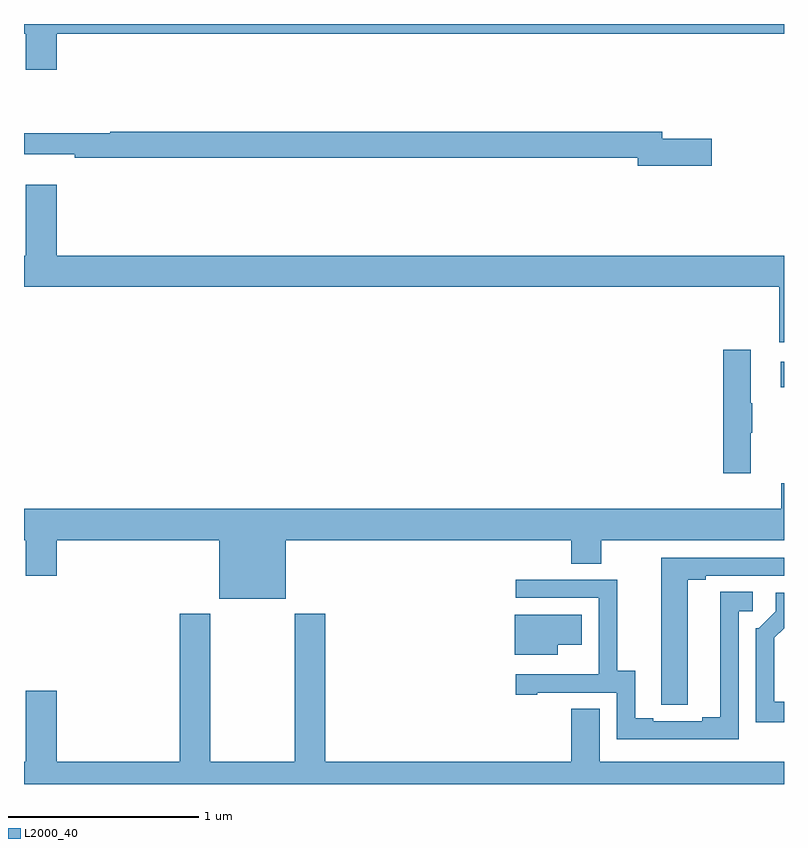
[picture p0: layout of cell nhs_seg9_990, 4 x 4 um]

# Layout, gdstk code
import gdstk
lib = gdstk.Library(unit=1e-6, precision=1e-09)
def R(c, l, rs):  # rectangles x0, y0, x1, y1
    for r in rs: c.add(gdstk.rectangle(r[:2], r[2:], *l))
def P(c, l, *ps):  # polygons
    for p in ps: c.add(gdstk.Polygon(p, *l))
L2000_40 = (2000, 40)

nhs_seg9_990 = lib.new_cell('nhs_seg9_990')
R(nhs_seg9_990, L2000_40, [(168.984,1166.588,169,1166.722)])
P(nhs_seg9_990, L2000_40, [(165.172,1168.448),(169,1168.448),(169,1168.5),(165,1168.5),(165,1168.448),(165.008,1168.448),(165.008,1168.26),(165.172,1168.26)],
  [(168.619,1167.896),(168.358,1167.896),(168.358,1167.932),(165.454,1167.932),(165.454,1167.925),(165,1167.925),(165,1167.815),(165.268,1167.815),(165.268,1167.796),(168.23,1167.796),(168.23,1167.754),(168.619,1167.754)],
  [(169,1167.28),(165.172,1167.28),(165.172,1167.655),(165.008,1167.655),(165.008,1167.28),(165,1167.28),(165,1167.116),(168.974,1167.116),(168.974,1166.826),(169,1166.826)],
  [(168.826,1166.348),(168.834,1166.348),(168.834,1166.504),(168.826,1166.504),(168.826,1166.785),(168.68,1166.785),(168.68,1166.136),(168.826,1166.136)],
  [(166.378,1165.784),(167.879,1165.784),(167.879,1165.66),(168.039,1165.66),(168.039,1165.784),(169,1165.784),(169,1166.082),(168.985,1166.082),(168.985,1165.948),(165,1165.948),(165,1165.784),(165.008,1165.784),(165.008,1165.596),(165.172,1165.596),(165.172,1165.784),(166.028,1165.784),(166.028,1165.475),(166.378,1165.475)],
  [(168.493,1165.576),(168.589,1165.576),(168.589,1165.596),(169,1165.596),(169,1165.692),(168.353,1165.692),(168.353,1165.024),(168.354,1165.024),(168.354,1164.916),(168.493,1164.916)],
  [(168.762,1165.41),(168.835,1165.41),(168.835,1165.511),(168.665,1165.511),(168.665,1164.851),(168.569,1164.851),(168.569,1164.831),(168.313,1164.831),(168.313,1164.846),(168.217,1164.846),(168.217,1165.097),(168.123,1165.097),(168.123,1165.575),(167.589,1165.575),(167.589,1165.479),(168.024,1165.479),(168.024,1165.078),(168.023,1165.078),(168.023,1165.077),(167.589,1165.077),(167.589,1164.969),(167.701,1164.969),(167.701,1164.981),(168.12,1164.981),(168.12,1164.735),(168.762,1164.735)],
  [(169,1164.934),(168.949,1164.934),(168.949,1165.27),(169,1165.321),(169,1165.506),(168.957,1165.506),(168.957,1165.41),(168.867,1165.32),(168.852,1165.32),(168.852,1164.824),(169,1164.824)],
  [(169,1164.616),(168.031,1164.616),(168.031,1164.896),(167.879,1164.896),(167.879,1164.616),(166.586,1164.616),(166.586,1165.396),(166.426,1165.396),(166.426,1164.616),(165.981,1164.616),(165.981,1165.396),(165.821,1165.396),(165.821,1164.616),(165.172,1164.616),(165.172,1164.991),(165.008,1164.991),(165.008,1164.616),(165,1164.616),(165,1164.5),(169,1164.5)],
  [(167.809,1165.232),(167.935,1165.232),(167.935,1165.39),(167.582,1165.39),(167.582,1165.181),(167.809,1165.181)])

lib.write_gds('nhs_seg9_990.gds')
